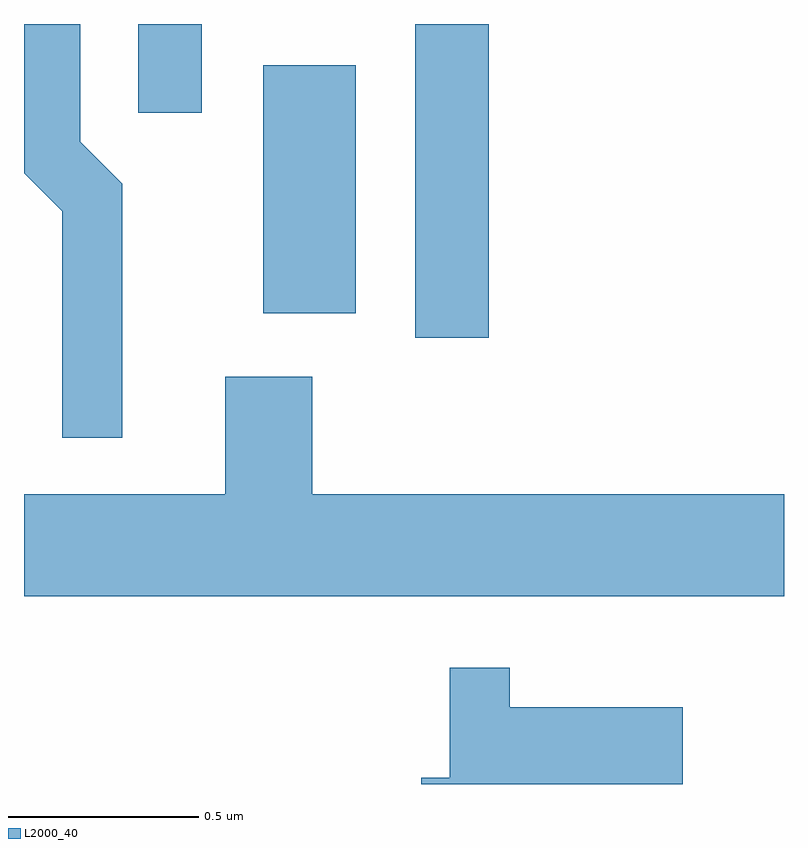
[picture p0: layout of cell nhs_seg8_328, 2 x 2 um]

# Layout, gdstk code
import gdstk
lib = gdstk.Library(unit=1e-6, precision=1e-09)
def R(c, l, rs):  # rectangles x0, y0, x1, y1
    for r in rs: c.add(gdstk.rectangle(r[:2], r[2:], *l))
def P(c, l, *ps):  # polygons
    for p in ps: c.add(gdstk.Polygon(p, *l))
L2000_40 = (2000, 40)

nhs_seg8_328 = lib.new_cell('nhs_seg8_328')
R(nhs_seg8_328, L2000_40, [(188.641,1861.516,188.834,1862.342), (188.241,1861.581,188.484,1862.234), (187.911,1862.108,188.079,1862.342)])
P(nhs_seg8_328, L2000_40, [(187.869,1861.922),(187.759,1862.032),(187.759,1862.342),(187.611,1862.342),(187.611,1861.949),(187.711,1861.849),(187.711,1861.253),(187.869,1861.253)],
  [(189.611,1861.104),(188.369,1861.104),(188.369,1861.414),(188.141,1861.414),(188.141,1861.104),(187.611,1861.104),(187.611,1860.836),(189.611,1860.836)],
  [(189.344,1860.544),(188.889,1860.544),(188.889,1860.648),(188.731,1860.648),(188.731,1860.359),(188.656,1860.359),(188.656,1860.342),(189.344,1860.342)])

lib.write_gds('nhs_seg8_328.gds')
